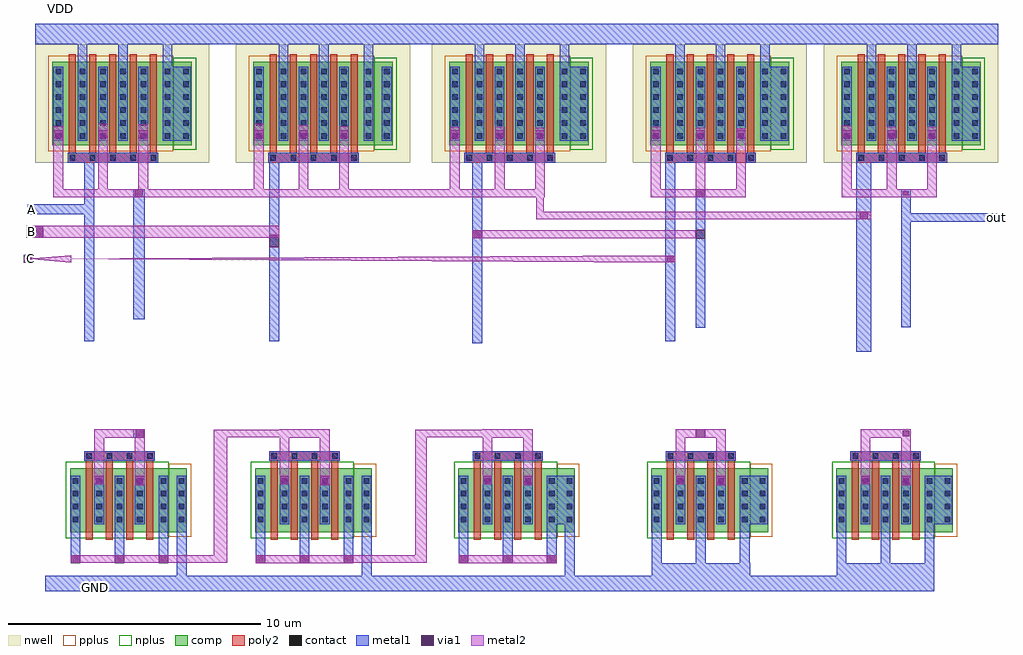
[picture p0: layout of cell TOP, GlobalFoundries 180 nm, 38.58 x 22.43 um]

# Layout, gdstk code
import gdstk
lib = gdstk.Library(unit=1e-6, precision=5e-09)
def R(c, l, rs):  # rectangles x0, y0, x1, y1
    for r in rs: c.add(gdstk.rectangle(r[:2], r[2:], *l))
def A(c, l, x, y, w, h, nx, ny, dx, dy):  # array of equal rectangles
    R(c, l, [(x+i*dx, y+j*dy, x+i*dx+w, y+j*dy+h) for i in range(nx) for j in range(ny)])
nwell = (21, 0)
comp = (22, 0)
poly2 = (30, 0)
pplus = (31, 0)
nplus = (32, 0)
contact = (33, 0)
metal1 = (34, 0)
via1 = (35, 0)
metal2 = (36, 0)

nfet_1 = lib.new_cell('nfet$1')
R(nfet_1, comp, [(-0.42,0,0,2.54), (0,0,3.06,2.54), (3.06,0,3.48,2.54), (3.48,0,4.19,2.54)])
A(nfet_1, poly2, 0.19, -0.3, 0.28, 3.14, 4, 1, 0.8, 0)
A(nfet_1, poly2, 0.15, 2.84, 0.36, 0.36, 4, 1, 0.8, 0)
R(nfet_1, pplus, [(3.48,-0.17,4.36,2.71)])
R(nfet_1, nplus, [(-0.59,-0.24,3.48,2.78)])
A(nfet_1, contact, -0.32, 0.395, 0.22, 0.22, 1, 4, 0, 0.51)
A(nfet_1, contact, 0.62, 0.395, 0.22, 0.22, 3, 4, 0.8, 0.51)
A(nfet_1, contact, 3.16, 0.395, 0.22, 0.22, 1, 4, 0, 0.51)
A(nfet_1, contact, 3.87, 0.395, 0.22, 0.22, 1, 4, 0, 0.51)
A(nfet_1, contact, 0.22, 2.91, 0.22, 0.22, 4, 1, 0.8, 0)
A(nfet_1, metal1, 0.54, 0.315, 0.38, 1.91, 3, 1, 0.8, 0)
A(nfet_1, metal1, 0.14, 2.83, 0.38, 0.38, 4, 1, 0.8, 0)
R(nfet_1, metal1, [(-0.4,0.315,-0.02,2.225), (3.08,0.315,3.46,2.225), (3.79,0.315,4.17,2.225)])

pfet = lib.new_cell('pfet')
R(pfet, nwell, [(-1.15,-0.69,5.74,3.99)])
R(pfet, comp, [(-0.46,0,0,3.3), (0,0,3.86,3.3), (3.86,0,4.32,3.3), (4.32,0,5.05,3.3)])
A(pfet, poly2, 0.14, -0.68, 0.38, 0.38, 5, 1, 0.8, 0)
A(pfet, poly2, 0.19, -0.3, 0.28, 3.9, 5, 1, 0.8, 0)
R(pfet, pplus, [(-0.63,-0.24,4.32,3.54)])
R(pfet, nplus, [(4.32,-0.17,5.22,3.47)])
A(pfet, contact, 0.22, -0.6, 0.22, 0.22, 5, 1, 0.8, 0)
A(pfet, contact, -0.34, 0.265, 0.22, 0.22, 1, 6, 0, 0.51)
A(pfet, contact, 0.62, 0.265, 0.22, 0.22, 4, 6, 0.8, 0.51)
A(pfet, contact, 3.98, 0.265, 0.22, 0.22, 1, 6, 0, 0.51)
A(pfet, contact, 4.71, 0.265, 0.22, 0.22, 1, 6, 0, 0.51)
A(pfet, metal1, 0.14, -0.68, 0.38, 0.38, 5, 1, 0.8, 0)
A(pfet, metal1, 0.54, 0.185, 0.38, 2.93, 4, 1, 0.8, 0)
R(pfet, metal1, [(-0.42,0.185,-0.04,3.115), (3.9,0.185,4.28,3.115), (4.63,0.185,5.01,3.115)])

top = lib.new_cell('TOP')
R(top, poly2, [(-51.475,6.005,-48.695,6.385), (-44.16,6.005,-41.38,6.385), (-36.13,6.005,-33.35,6.385), (-28.5,6.005,-25.72,6.385), (-21.19,6.005,-18.41,6.385), (-52.135,17.79,-48.555,18.17), (-44.2,17.79,-40.62,18.17), (-36.45,17.79,-32.87,18.17), (-28.515,17.79,-24.935,18.17), (-20.955,17.79,-17.375,18.17)])
A(top, metal1, -52.015, 1.96, 0.38, 1.53, 3, 1, 1.74, 0)
A(top, metal1, -44.7, 1.96, 0.38, 1.53, 3, 1, 1.74, 0)
A(top, metal1, -36.67, 1.96, 0.38, 1.53, 3, 1, 1.74, 0)
A(top, metal1, -29.04, 1.96, 0.38, 1.53, 3, 1, 1.74, 0)
A(top, metal1, -21.73, 1.96, 0.38, 1.53, 3, 1, 1.74, 0)
R(top, metal1, [(-53.015,0.845,-17.87,1.45), (-47.825,0.87,-47.435,0.96), (-40.51,0.87,-40.12,0.96), (-32.48,0.87,-32.085,0.96), (-29.04,0.87,-25.15,0.96), (-21.73,0.87,-17.87,1.96), (-47.825,0.96,-47.435,3.49), (-40.51,0.96,-40.12,3.49), (-32.48,0.96,-32.09,3.49), (-29.04,0.96,-25.15,1.96), (-33.19,3.49,-32.1,5.4), (-25.56,3.49,-24.47,5.4), (-18.25,3.49,-17.16,5.4), (-51.475,6.005,-48.695,6.385), (-44.16,6.005,-41.38,6.385), (-36.13,6.005,-33.35,6.385), (-28.5,6.005,-25.72,6.385), (-21.19,6.005,-18.41,6.385), (-49.55,6.915,-49.1,7.245), (-20.955,10.305,-20.36,18.17), (-27.31,11.265,-26.925,16.73), (-19.19,11.28,-18.81,16.73), (-49.55,11.595,-49.095,16.73), (-53.88,13.84,-53.465,14.14), (-53.775,14.815,-53.1,15.295), (-19.19,15.455,-15.3,15.79), (-52.135,17.79,-48.555,18.17), (-44.2,17.79,-40.62,18.17), (-36.45,17.79,-32.87,18.17), (-28.515,17.79,-25.735,18.17), (-20.955,17.79,-17.375,18.17), (-48.375,18.655,-47.265,21.585), (-32.69,18.655,-31.58,21.585), (-24.755,18.655,-23.645,21.585), (-17.195,18.655,-16.085,21.585), (-51.735,21.585,-51.355,23.275), (-50.135,21.585,-49.755,23.275), (-48.375,21.585,-47.995,23.275), (-43.8,21.585,-43.42,23.275), (-42.2,21.585,-41.82,23.275), (-40.44,21.585,-40.06,23.275), (-36.05,21.585,-35.67,23.275), (-34.45,21.585,-34.07,23.275), (-32.69,21.585,-32.31,23.275), (-28.115,21.585,-27.735,23.275), (-26.515,21.585,-26.135,23.275), (-24.755,21.585,-24.375,23.275), (-20.555,21.585,-20.175,23.275), (-18.955,21.585,-18.575,23.275), (-17.195,21.585,-16.815,23.275), (-53.425,22.46,-15.355,23.275)])
R(top, via1, [(-52.015,1.96,-51.635,2.275), (-52.015,1.96,-51.635,2.275), (-50.275,1.96,-49.895,2.275), (-50.275,1.96,-49.895,2.275), (-48.535,1.96,-48.155,2.275), (-48.535,1.96,-48.155,2.275), (-44.7,1.96,-44.32,2.275), (-44.7,1.96,-44.32,2.275), (-42.96,1.96,-42.58,2.275), (-42.96,1.96,-42.58,2.275), (-41.22,1.96,-40.84,2.275), (-41.22,1.96,-40.84,2.275), (-36.67,1.96,-36.29,2.275), (-36.67,1.96,-36.29,2.275), (-34.93,1.96,-34.55,2.275), (-34.93,1.96,-34.55,2.275), (-33.19,1.96,-32.81,2.275), (-33.19,1.96,-32.81,2.275), (-49.475,5.035,-49.095,5.4), (-42.16,5.035,-41.78,5.4), (-34.13,5.035,-33.75,5.4), (-26.5,5.035,-26.12,5.4), (-19.19,5.035,-18.81,5.4), (-51.075,5.07,-50.695,5.4), (-43.76,5.07,-43.38,5.4), (-35.73,5.07,-35.35,5.4), (-28.1,5.07,-27.72,5.4), (-20.79,5.07,-20.41,5.4), (-49.45,6.915,-49.1,7.245), (-27.305,6.915,-26.925,7.24), (-19.125,6.97,-18.875,7.18), (-53.88,13.835,-53.465,14.135), (-28.445,13.875,-28.17,14.095), (-44.17,14.45,-43.77,14.93), (-27.31,14.785,-26.925,15.125), (-36.14,14.805,-35.74,15.11), (-53.775,14.815,-53.1,15.295), (-20.83,15.54,-20.5,15.84), (-49.485,16.415,-49.17,16.73), (-27.31,16.415,-26.93,16.73), (-19.125,16.5,-18.89,16.66), (-52.695,18.75,-52.315,19.065), (-50.93,18.75,-50.55,19.065), (-49.335,18.75,-48.955,19.065), (-44.76,18.75,-44.38,19.065), (-42.995,18.75,-42.615,19.065), (-41.4,18.75,-41.02,19.065), (-37.01,18.75,-36.63,19.065), (-35.245,18.75,-34.865,19.065), (-33.65,18.75,-33.27,19.065), (-29.075,18.75,-28.695,19.065), (-27.31,18.75,-26.93,19.065), (-25.715,18.75,-25.335,19.065), (-21.515,18.75,-21.135,19.065), (-19.75,18.75,-19.37,19.065), (-18.155,18.75,-17.775,19.065)])
R(top, metal2, [(-44.7,1.96,-40.84,2.275), (-36.67,1.96,-32.81,2.275), (-52.015,1.965,-45.825,2.275), (-46.355,1.965,-45.825,7.23), (-38.39,1.97,-37.94,7.23), (-49.475,5.035,-49.095,7.245), (-42.16,5.035,-41.78,7.245), (-34.13,5.035,-33.75,7.245), (-26.5,5.035,-26.12,7.245), (-19.19,5.035,-18.81,7.245), (-51.075,5.07,-50.695,7.245), (-43.76,5.07,-43.38,7.245), (-35.73,5.07,-35.35,7.245), (-28.1,5.07,-27.72,7.245), (-20.79,5.07,-20.41,7.245), (-51.075,6.915,-49.095,7.245), (-49.55,6.915,-49.095,7.245), (-43.76,6.915,-41.78,7.245), (-35.73,6.915,-33.75,7.245), (-28.1,6.915,-26.12,7.245), (-20.79,6.915,-18.81,7.245), (-53.775,14.815,-43.77,15.295), (-52.71,16.415,-52.315,18.655), (-52.71,16.415,-48.97,16.73), (-50.93,16.415,-50.55,18.655), (-49.335,16.415,-48.955,18.655), (-48.97,16.415,-33.285,16.73), (-44.775,16.415,-44.38,18.655), (-44.775,16.415,-41.035,16.73), (-42.995,16.415,-42.615,18.655), (-41.4,16.415,-41.02,18.655), (-37.025,16.415,-36.63,18.655), (-37.025,16.415,-33.285,16.73), (-35.245,16.415,-34.865,18.655), (-33.65,16.415,-33.27,18.655), (-29.09,16.415,-28.695,18.655), (-29.09,16.415,-25.35,16.73), (-27.31,16.415,-26.93,18.655), (-25.715,16.415,-25.335,18.655), (-21.53,16.415,-21.135,18.655), (-21.53,16.415,-17.79,16.73), (-19.75,16.415,-19.37,18.655), (-18.155,16.415,-17.775,18.655), (-52.695,18.375,-52.315,19.215), (-50.935,18.38,-50.55,19.315), (-41.4,18.47,-41.02,19.23), (-49.335,18.495,-48.955,19.31), (-43,18.505,-42.615,19.265), (-44.76,18.515,-44.38,19.325), (-37.01,18.52,-36.63,19.21), (-29.075,18.56,-28.695,19.205), (-27.315,18.57,-26.93,19.175), (-35.25,18.575,-34.865,19.195), (-33.65,18.59,-33.27,19.16), (-19.75,18.63,-19.375,19.195), (-25.715,18.64,-25.335,19.155), (-21.53,18.655,-21.135,19.235), (-18.155,18.655,-17.775,19.205)])
top.add(gdstk.FlexPath([(-51.285,10.725),(-51.285,18.09)], 0.4, ends="flush", simple_path=True, layer=34, datatype=0))  # metal1
top.add(gdstk.FlexPath([(-43.97,10.735),(-43.97,17.98)], 0.4, ends="flush", simple_path=True, layer=34, datatype=0))  # metal1
top.add(gdstk.FlexPath([(-35.94,10.655),(-35.94,17.79),(-35.94,18.065)], 0.4, ends="flush", simple_path=True, layer=34, datatype=0))  # metal1
top.add(gdstk.FlexPath([(-28.31,10.735),(-28.31,18.17)], 0.4, ends="flush", simple_path=True, layer=34, datatype=0))  # metal1
top.add(gdstk.FlexPath([(-51.285,15.95),(-53.715,15.95)], 0.4, ends="flush", simple_path=True, layer=34, datatype=0))  # metal1
top.add(gdstk.FlexPath([(-43.76,7.08),(-46.355,7.08)], 0.3, ends="flush", simple_path=True, layer=36, datatype=0))  # metal2
top.add(gdstk.FlexPath([(-40.84,2.12),(-37.94,2.12)], 0.3, ends="flush", simple_path=True, layer=36, datatype=0))  # metal2
top.add(gdstk.FlexPath([(-35.73,7.08),(-38.39,7.08)], 0.3, ends="flush", simple_path=True, layer=36, datatype=0))  # metal2
top.add(gdstk.FlexPath([(-28.11,13.985),(-53.73,13.985),(-51.985,13.985)], 0.3, ends="flush", simple_path=True, layer=36, datatype=0))  # metal2
top.add(gdstk.FlexPath([(-27.31,14.955),(-36.14,14.955),(-36.14,14.955)], 0.3, ends="flush", simple_path=True, layer=36, datatype=0))  # metal2
top.add(gdstk.FlexPath([(-33.46,16.415),(-33.46,15.69),(-20.36,15.69)], 0.3, ends="flush", simple_path=True, layer=36, datatype=0))  # metal2
top.add(gdstk.Reference(nfet_1, (-21.33,3.175)))
top.add(gdstk.Reference(pfet, (-36.59,18.47)))
top.add(gdstk.Reference(pfet, (-21.095,18.47)))
top.add(gdstk.Reference(pfet, (-52.275,18.47)))
top.add(gdstk.Reference(pfet, (-44.34,18.47)))
top.add(gdstk.Reference(pfet, (-28.655,18.47)))
top.add(gdstk.Reference(nfet_1, (-51.615,3.175)))
top.add(gdstk.Reference(nfet_1, (-36.27,3.175)))
top.add(gdstk.Reference(nfet_1, (-28.64,3.175)))
top.add(gdstk.Reference(nfet_1, (-44.3,3.175)))
top.add(gdstk.Label('GND', (-51.02,1.01), layer=34, texttype=10))
top.add(gdstk.Label('C', (-53.62,13.985), layer=34, texttype=10))
top.add(gdstk.Label('B', (-53.545,15.08), layer=34, texttype=10))
top.add(gdstk.Label('VDD', (-52.415,24.14), layer=34, texttype=10))
top.add(gdstk.Label('A', (-53.575,15.95), layer=34, texttype=10))
top.add(gdstk.Label('out', (-15.435,15.63), layer=34, texttype=10))

lib.write_gds('TOP.gds')
